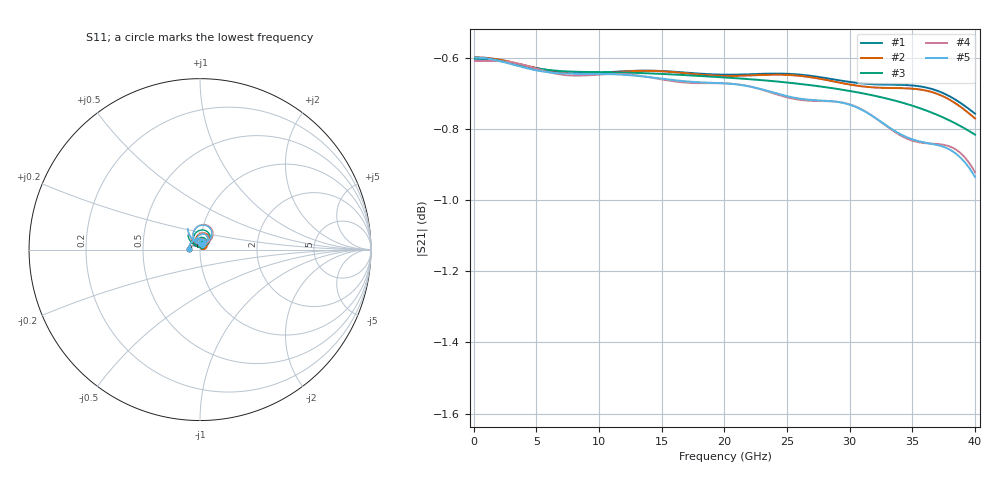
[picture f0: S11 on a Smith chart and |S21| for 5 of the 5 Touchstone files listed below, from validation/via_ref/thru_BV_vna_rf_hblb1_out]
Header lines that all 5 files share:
! thru_BV_vna_rf_hblb1_out: 2×thru In2.Cu, 8 mm
! stackup: as the board case
! ports: 1 near, 2 far
# Hz S RI R 50
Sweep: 100 MHz to 40 GHz
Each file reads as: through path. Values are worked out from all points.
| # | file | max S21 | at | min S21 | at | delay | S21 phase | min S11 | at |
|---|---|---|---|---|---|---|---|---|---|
| 1 | cst.s2p | -0.60 dB | 200 MHz | -0.8 dB | 40 GHz | 58.7 ps | -63 deg at 20.1 GHz | -43.5 dB | 8.3 GHz |
| 2 | cst_fine.s2p | -0.60 dB | 200 MHz | -0.8 dB | 40 GHz | 58.6 ps | -62 deg at 20.1 GHz | -39.9 dB | 7.9 GHz |
| 3 | kisi.s2p | -0.60 dB | 100 MHz | -0.8 dB | 40 GHz | 58.9 ps | -64 deg at 20.1 GHz | -37.6 dB | 7.6 GHz |
| 4 | openems.s2p | -0.61 dB | 1.1 GHz | -0.9 dB | 40 GHz | 59.1 ps | -65 deg at 20.1 GHz | -35.1 dB | 7.4 GHz |
| 5 | openems_base.s2p | -0.60 dB | 100 MHz | -0.9 dB | 40 GHz | 59.2 ps | -65 deg at 20.1 GHz | -34.8 dB | 7.4 GHz |
